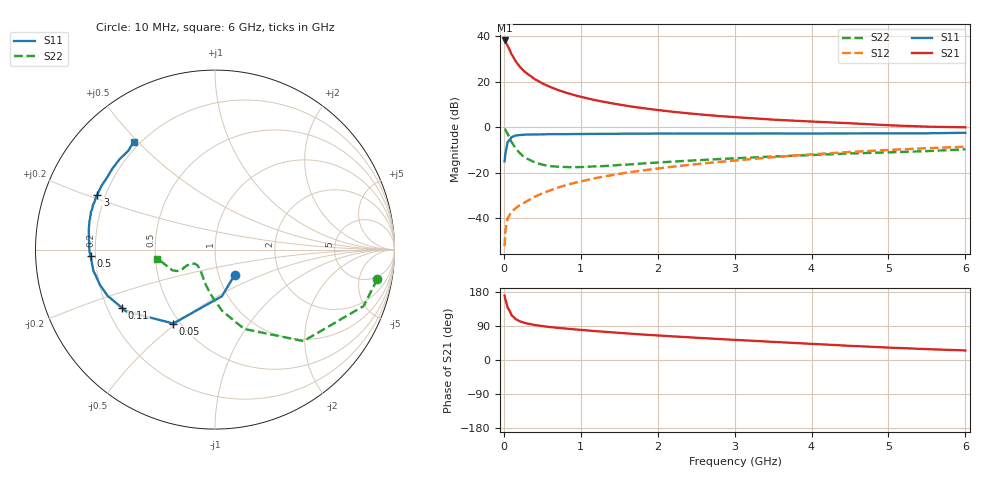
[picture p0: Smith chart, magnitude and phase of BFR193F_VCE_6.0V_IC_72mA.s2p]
! (c) 2017  Infineon Technologies AG, Munich
! Infineon Technologies  Discrete & RF Semiconductors
! BFR193F
! VCE =  6.0 V,  IC =  72 mA
! Common Emitter S-Parameters:  Jan 2017
# GHz  S  MA  R  50
!  f  S11  S21  S12  S22
! GHz  MAG  ANG  MAG  ANG  MAG  ANG  MAG  ANG
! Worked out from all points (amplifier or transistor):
!   77 points, 10 MHz to 6 GHz, reference 50 ohm
!   highest |S21| = 38.2 dB at 10 MHz (marker M1)
!   |S21| within 3 dB of that: start of sweep to 58.85 MHz
!   unconditionally stable (mu >= 1): 716.2 MHz to 2.409 GHz
!   at 130 MHz: K = 0.56, MSG = 33.4 dB, |S12| = -36.4 dB
!   at 2.2 GHz: K = 1.01, MAG = 11.4 dB, |S12| = -17.4 dB
!   at 6 GHz: K = 0.86, MSG = 4.3 dB, |S12| = -8.6 dB
!   S11 on the Smith chart (normalised r, x): 10 MHz: 1.19, -0.34; 50 MHz: 0.46, -0.49; 110 MHz: 0.26, -0.27; 500 MHz: 0.18, -0.03; 3 GHz: 0.17, +0.22; 6 GHz: 0.18, +0.49
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0.01  0.178 -51.8  80.89 169.9  0.0024 83.6  0.9193 -10.3
0.02  0.2627 -81.5  77.11 160.0  0.0052 76.1  0.8858 -20.8
0.05  0.4731 -119.5  61.4 137.7  0.0098 60.2  0.7089 -46.0
0.1  0.6035 -145.3  40.23 117.9  0.0137 54.0  0.4706 -69.8
0.11  0.611 -147.7  37.88 116.5  0.0142 54.1  0.444 -71.9
0.15  0.6513 -156.7  28.83 108.5  0.0162 54.6  0.3454 -83.1
0.2  0.6705 -162.9  22.22 102.8  0.0189 56.6  0.2766 -91.5
0.25  0.6791 -167.3  17.97 99.2  0.0209 59.2  0.2297 -98.9
0.3  0.6879 -170.1  15.13 96.5  0.0235 62.4  0.2033 -104.6
0.4  0.6904 -174.3  11.43 92.3  0.0292 65.5  0.1676 -113.7
0.5  0.6945 -177.0  9.197 89.5  0.0348 69.4  0.1493 -120.9
0.6  0.7 -179.5  7.7 87.0  0.0404 70.6  0.1387 -126.8
0.7  0.7012 178.5  6.612 84.8  0.0465 72.3  0.1349 -131.2
0.9  0.7052 175.4  5.165 81.2  0.0584 74.1  0.1313 -138.5
1.1  0.7083 172.8  4.241 77.7  0.0697 74.6  0.1352 -142.7
1.5  0.7155 168.2  3.142 71.6  0.0936 75.3  0.1471 -148.0
2.1  0.7216 162.4  2.279 63.6  0.1289 74.8  0.1705 -150.4
3  0.7239 155.0  1.663 53.1  0.1836 72.8  0.2062 -149.1
3.1  0.7239 154.1  1.622 52.1  0.1905 72.4  0.21 -149.1
4.1  0.7238 145.4  1.306 41.6  0.2574 68.2  0.2467 -151.2
5.1  0.7317 135.5  1.085 31.9  0.3201 62.4  0.2821 -160.9
6  0.7515 127.1  0.991 25.2  0.3707 56.9  0.325 -171.0
